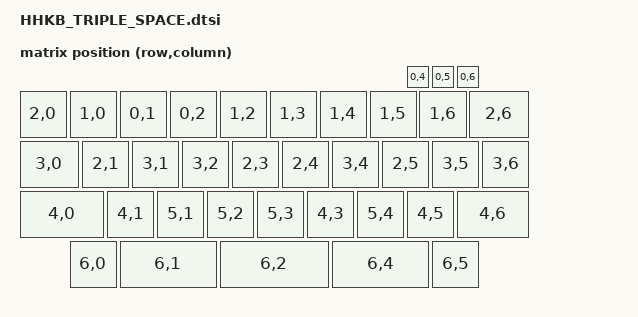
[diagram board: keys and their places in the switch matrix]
#include <physical_layouts.dtsi>
#include "position_map.dtsi"

/ {
    qaz_ble_hhkb_triple_space_layout: qaz_ble_hhkb_triple_space_layout {
        compatible = "zmk,physical-layout";
        display-name = "HHKB_TRIPLE_SPACE";
        keys  //                     w   h    x    y     rot    rx    ry
            = <&key_physical_attrs 100 100    0   50       0     0     0>
            , <&key_physical_attrs 100 100  100   50       0     0     0>
            , <&key_physical_attrs 100 100  200   50       0     0     0>
            , <&key_physical_attrs 100 100  300   50       0     0     0>
            , <&key_physical_attrs 100 100  400   50       0     0     0>
            , <&key_physical_attrs 100 100  500   50       0     0     0>
            , <&key_physical_attrs 100 100  600   50       0     0     0>
            , <&key_physical_attrs 100 100  700   50       0     0     0>
            , <&key_physical_attrs 100 100  800   50       0     0     0>
            , <&key_physical_attrs 125 100  900   50       0     0     0>
            , <&key_physical_attrs 125 100    0  150       0     0     0>
            , <&key_physical_attrs 100 100  125  150       0     0     0>
            , <&key_physical_attrs 100 100  225  150       0     0     0>
            , <&key_physical_attrs 100 100  325  150       0     0     0>
            , <&key_physical_attrs 100 100  425  150       0     0     0>
            , <&key_physical_attrs 100 100  525  150       0     0     0>
            , <&key_physical_attrs 100 100  625  150       0     0     0>
            , <&key_physical_attrs 100 100  725  150       0     0     0>
            , <&key_physical_attrs 100 100  825  150       0     0     0>
            , <&key_physical_attrs 100 100  925  150       0     0     0>
            , <&key_physical_attrs 175 100    0  250       0     0     0>
            , <&key_physical_attrs 100 100  175  250       0     0     0>
            , <&key_physical_attrs 100 100  275  250       0     0     0>
            , <&key_physical_attrs 100 100  375  250       0     0     0>
            , <&key_physical_attrs 100 100  475  250       0     0     0>
            , <&key_physical_attrs 100 100  575  250       0     0     0>
            , <&key_physical_attrs 100 100  675  250       0     0     0>
            , <&key_physical_attrs 100 100  775  250       0     0     0>
            , <&key_physical_attrs 150 100  875  250       0     0     0>

            , <&key_physical_attrs 100 100  100  350       0     0     0>
            , <&key_physical_attrs 200 100  200  350       0     0     0>
            , <&key_physical_attrs 225 100  400  350       0     0     0>
            , <&key_physical_attrs 200 100  625  350       0     0     0>
            , <&key_physical_attrs 100 100  825  350       0     0     0>

            , <&key_physical_attrs  50  50  775    0       0     0     0>
            , <&key_physical_attrs  50  50  825    0       0     0     0>
            , <&key_physical_attrs  50  50  875    0       0     0     0>
            ;
    };
    qaz_ble_hhkb_triple_space_transform: qaz_ble_hhkb_triple_space_transform {
        compatible = "zmk,matrix-transform";
        rows       = <5>;
        columns    = <11>;
        map = <
            /* row-0 */ RC(2,0)RC(1,0) RC(0,1) RC(0,2) RC(1,2) RC(1,3) RC(1,4) RC(1,5) RC(1,6) RC(2,6)
            /* row-1 */ RC(3,0) RC(2,1) RC(3,1) RC(3,2) RC(2,3) RC(2,4) RC(3,4) RC(2,5) RC(3,5) RC(3,6)
            /* row-2 */ RC(4,0) RC(4,1) RC(5,1) RC(5,2) RC(5,3) RC(4,3) RC(5,4) RC(4,5) RC(4,6)
            /* row-3 */ RC(6,0) RC(6,1) RC(6,2) RC(6,4) RC(6,5)
            /* tactile switches */ RC(0,4) RC(0,5) RC(0,6)
        >;
    };
};

&layouts_qaz_ble_position_map {
    qaz_ble_hhkb_triple_space_posmap: hhkb_triple_space {
        physical-layout = <&qaz_ble_hhkb_triple_space_layout>;
            positions = <39 29 30 31 38 32 33 37 34 35 36>;
    };
};
